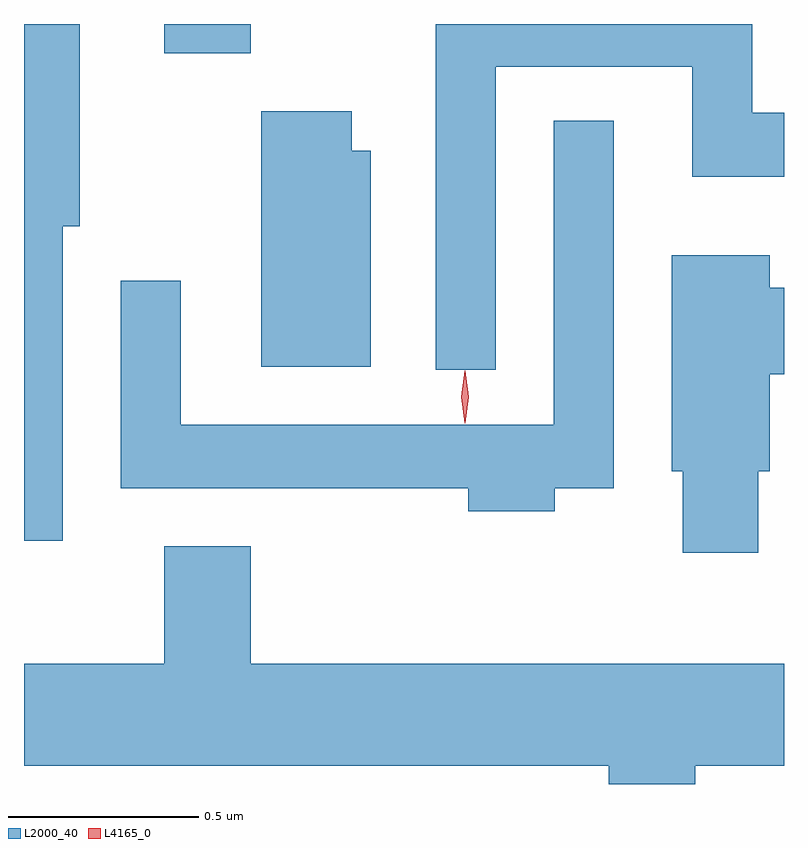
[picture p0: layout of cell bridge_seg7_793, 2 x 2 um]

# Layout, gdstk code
import gdstk
lib = gdstk.Library(unit=1e-6, precision=1e-09)
def R(c, l, rs):  # rectangles x0, y0, x1, y1
    for r in rs: c.add(gdstk.rectangle(r[:2], r[2:], *l))
def P(c, l, *ps):  # polygons
    for p in ps: c.add(gdstk.Polygon(p, *l))
L2000_40 = (2000, 40)
L4165_0 = (4165, 0)

bridge_seg7_793 = lib.new_cell('bridge_seg7_793')
R(bridge_seg7_793, L2000_40, [(500.311,1740.611,500.539,1740.688)])
P(bridge_seg7_793, L2000_40, [(500.044,1740.156),(500.089,1740.156),(500.089,1740.688),(499.942,1740.688),(499.942,1739.328),(500.044,1739.328)],
  [(501.184,1740.576),(501.701,1740.576),(501.701,1740.286),(501.942,1740.286),(501.942,1740.454),(501.859,1740.454),(501.859,1740.688),(501.026,1740.688),(501.026,1739.778),(501.184,1739.778)],
  [(500.854,1740.354),(500.804,1740.354),(500.804,1740.459),(500.566,1740.459),(500.566,1739.786),(500.854,1739.786)],
  [(501.339,1739.466),(501.494,1739.466),(501.494,1740.433),(501.336,1740.433),(501.336,1739.634),(500.354,1739.634),(500.354,1740.013),(500.196,1740.013),(500.196,1739.466),(501.111,1739.466),(501.111,1739.406),(501.339,1739.406)],
  [(501.874,1739.511),(501.904,1739.511),(501.904,1739.766),(501.942,1739.766),(501.942,1739.994),(501.904,1739.994),(501.904,1740.079),(501.646,1740.079),(501.646,1739.511),(501.676,1739.511),(501.676,1739.296),(501.874,1739.296)],
  [(501.709,1738.736),(501.942,1738.736),(501.942,1739.004),(500.539,1739.004),(500.539,1739.314),(500.311,1739.314),(500.311,1739.004),(499.942,1739.004),(499.942,1738.736),(501.481,1738.736),(501.481,1738.688),(501.709,1738.688)])
P(bridge_seg7_793, L4165_0, [(501.103,1739.639),(501.102,1739.64),(501.093,1739.706),(501.102,1739.773),(501.103,1739.773),(501.103,1739.773),(501.113,1739.706),(501.103,1739.64)],
  [(501.102,1739.637),(501.093,1739.707),(501.102,1739.776),(501.103,1739.776),(501.103,1739.776),(501.113,1739.707),(501.103,1739.637),(501.103,1739.637)])

lib.write_gds('bridge_seg7_793.gds')
